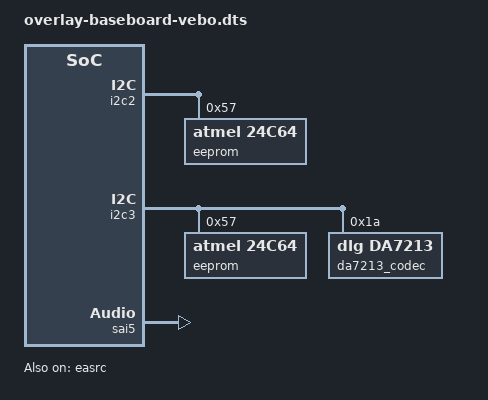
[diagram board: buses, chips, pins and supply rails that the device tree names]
/*
 * Copyright (C) 2022 Avnet Embedded GmbH
 *
 * This program is free software; you can redistribute it and/or
 * modify it under the terms of the GNU General Public License as
 * published by the Free Software Foundation version 2.
 *
 * This program is distributed "as is" WITHOUT ANY WARRANTY of any
 * kind, whether express or implied; without even the implied warranty
 * of MERCHANTABILITY or FITNESS FOR A PARTICULAR PURPOSE.  See the
 * GNU General Public License for more details.
 */

/dts-v1/;
/plugin/;

#include <dt-bindings/clock/imx8mn-clock.h>
#include <dt-bindings/gpio/gpio.h>

/ {
	fragment@1100 {
		target = <&ecspi1>;
		__overlay__ {
			spi-max-frequency = <20000000>;
		};
	};

	fragment@1101 {
		target = <&ecspi2>;
		__overlay__ {
			spi-max-frequency = <20000000>;
		};
	};

	fragment@1102 {
		target = <&spidev1_0>;
		__overlay__ {
			compatible = "jedec,spi-nor";
			spi-max-frequency = <20000000>;
		};
	};

	fragment@1103 {
		target = <&spidev1_1>;
		__overlay__ {
			compatible = "jedec,spi-nor";
			spi-max-frequency = <20000000>;
		};
	};

	fragment@1104 {
		target = <&spidev2_0>;
		__overlay__ {
			compatible = "jedec,spi-nor";
			spi-max-frequency = <20000000>;
		};
	};

	fragment@1105 {
		target = <&spidev2_1>;
		__overlay__ {
			compatible = "jedec,spi-nor";
			spi-max-frequency = <20000000>;
		};
	};

	fragment@1106 {
		target = <&i2c2>;
		__overlay__ {
			#address-cells = <1>;
			#size-cells = <0>;
			eeprom@57 {
				compatible = "atmel,24c64";
				reg = <0x57>;
				pagesize = <32>;
			};
		};
	};

	fragment@1107 {
		target = <&i2c3>;
		__overlay__ {
			#address-cells = <1>;
			#size-cells = <0>;
			eeprom@57 {
				compatible = "atmel,24c64";
				reg = <0x57>;
				pagesize = <32>;
			};
		};
	};

	fragment@1108 {
		target-path = "/";
		__overlay__ {
			da7213_sound: da7213-sound {
				compatible = "fsl,imx-audio-da7213";
				card-name = "imx-da7212-audio";
				fsl,no-audmux;
				ssi-controller = <&sai5>;
				audio-codec = <&da7213_codec>;
				audio-routing =
						"Mic1", "Mic Bias 1",
						"MIC1", "Mic1",
						"Headphone Jack", "HPL",
						"Headphone Jack", "HPR",
						"Speaker", "LINE";
				status = "okay";
			};
		};
	};

	fragment@1109 {
		target = <&i2c3>;
		__overlay__ {
			#address-cells = <1>;
			#size-cells = <0>;
			da7213_codec: da7212@1a {
				compatible = "dlg,da7213";
				reg = <0x1a>;
				clocks = <&clk IMX8MN_CLK_CLKOUT1>;
				clock-names = "mclk";
				dlg,micbias1-lvl = <3000>;
				status = "okay";
			};
		};
	};

	fragment@1010 {
		target = <&sai5>;
		__overlay__ {
			status = "okay";
		};
	};

	fragment@1011 {
		target = <&easrc>;
		__overlay__ {
			status = "okay";
		};
	};
};
